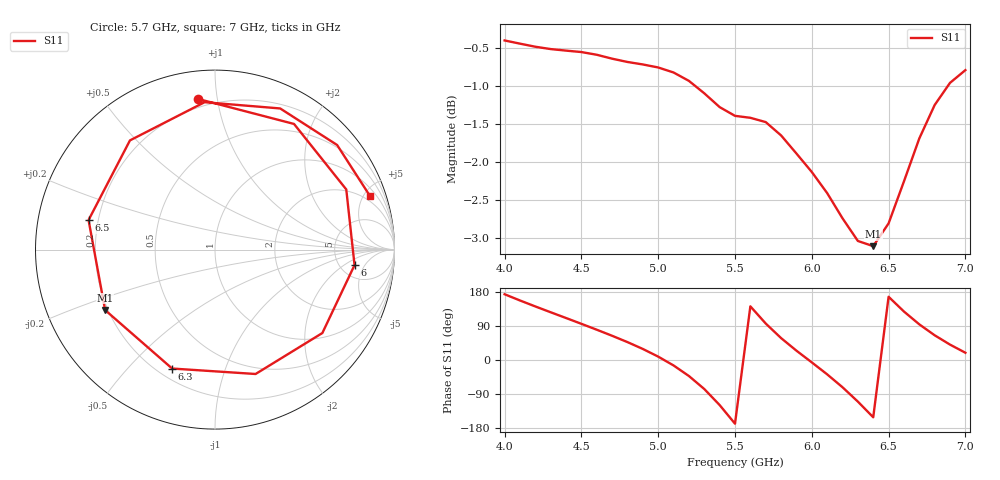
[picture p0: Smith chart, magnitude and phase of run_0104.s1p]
! Touchstone file exported from HFSS 2024.2.0
!  File:  C:/Users/wsak9/Desktop/Sim Fast/Widenad Patch/WP_AI_V1_sweep.aedt
!  Generated:  07:15:31 PM Oct 13, 2026
!  Design:  A1_model
!  Project:  WP_AI_V1_sweep
!  Setup:  Setup1
!  Solution:  Sweep
! Variables:
!  Air_gap = 4.45mm
!  Curve_Amp1 = 2.14
!  Curve_len1 = 1
!  Curve_pos = 10.39mm
!  Extra = 5.56mm
!  H_sub = 0.79mm
!  L_Patch = 16.78mm
!  L_Patch1 = 22.24mm
!  Sx = 4.61mm
!  Sy = 4.08mm
!  WS = 1.1mm
!  W_Patch = 10.18mm
!  W_Patch1 = 16.68mm
!Data is not renormalized
# GHz S MA
! Terminal data exported
! Port[1] = 1
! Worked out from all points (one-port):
!   31 points, 4 GHz to 7 GHz, reference per port
!   lowest |S11| = -3.1 dB at 6.4 GHz (marker M1), VSWR 5.64
!   |S11| at or under -10 dB: nowhere
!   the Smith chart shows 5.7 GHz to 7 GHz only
!   S11 on the Smith chart (normalised r, x): 5.7 GHz: 0.15, +0.88; 6 GHz: 6.81, -3.03; 6.3 GHz: 0.26, -0.67; 6.5 GHz: 0.16, +0.11; 7 GHz: 1.53, +5.52
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4  0.9555 173.5
4.2  0.9464 141.3
4.4  0.9408 110.8
4.6  0.9349 79.9
4.7  0.9294 63.9
4.8  0.9247 47.2
4.9  0.9213 29.1
5  0.917 8.9
5.1  0.9101 -14.4
5.2  0.8985 -42.3
5.3  0.8817 -76.6
5.4  0.8634 -118.9
5.5  0.852 -168.1
5.6  0.8495 141.6
5.7  0.8439 96.3
5.8  0.827 57.8
5.9  0.8045 24.6
6  0.7822 -6.3
6.1  0.7575 -37.8
6.2  0.729 -71.9
6.3  0.7043 -109.8
6.4  0.6988 -151.2
6.5  0.7234 166.8
6.6  0.7711 127.9
6.7  0.8232 94.0
6.8  0.8662 65.2
6.9  0.8959 40.6
7  0.9133 19.2
